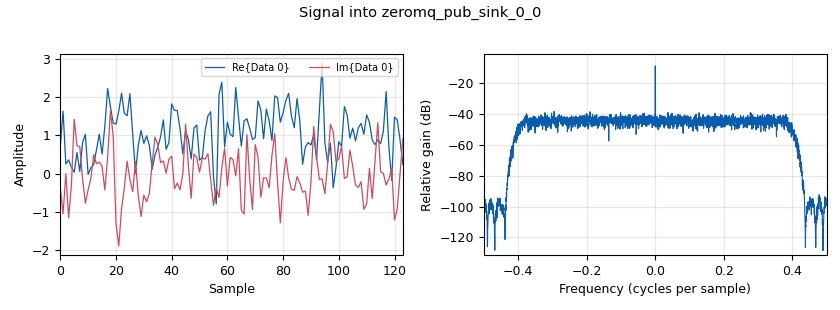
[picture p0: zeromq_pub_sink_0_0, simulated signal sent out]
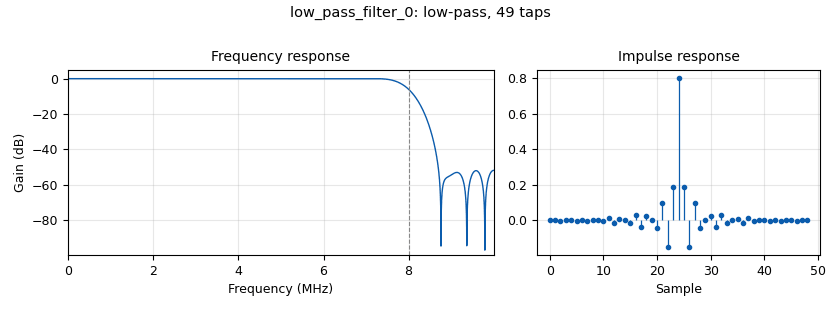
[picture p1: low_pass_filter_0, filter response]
options:
  parameters:
    author: muaddib
    description: radio head for passing I/Q to other flowgraphs
    generate_options: no_gui
    id: siggen_stillsuit
    output_language: python
    run_options: run
  states: {}

blocks:
- name: analog_noise_source_x_0
  id: analog_noise_source_x
  parameters:
    amp: '1'
    noise_type: analog.GR_GAUSSIAN
    seed: '0'
    type: complex
  states: {}
- name: analog_sig_source_x_0
  id: analog_sig_source_x
  parameters:
    amp: '1'
    freq: '1000'
    offset: '0'
    phase: '0'
    samp_rate: samp_rate
    type: complex
    waveform: analog.GR_COS_WAVE
  states: {}
- name: blocks_add_xx_0
  id: blocks_add_xx
  parameters:
    type: complex
  states: {}
- name: blocks_multiply_const_xx_0
  id: blocks_multiply_const_xx
  parameters:
    const: rf_gain
    type: complex
  states: {}
- name: blocks_throttle_0
  id: blocks_throttle
  parameters:
    samples_per_second: samp_rate
    type: complex
  states: {}
- name: control_ip
  id: parameter
  parameters:
    label: XMLRPC SERVER IP
    short_id: x
    type: str
    value: 127.0.0.1
  states: {}
- name: control_port
  id: parameter
  parameters:
    label: XMLRPC SERVER PORT
    short_id: X
    type: intx
    value: '8000'
  states: {}
- name: low_pass_filter_0
  id: low_pass_filter
  parameters:
    cutoff_freq: (rf_bw/2)*.8
    decim: '1'
    gain: '1'
    samp_rate: samp_rate
    type: fir_filter_ccf
    width: 1e6
    win: window.WIN_HAMMING
  states: {}
- name: rf_bw
  id: parameter
  parameters:
    label: RF BANDWITDH
    short_id: b
    type: eng_float
    value: 20e6
  states: {}
- name: rf_freq
  id: parameter
  parameters:
    label: RF FREQUENCY
    short_id: f
    type: eng_float
    value: 750e6
  states: {}
- name: rf_gain
  id: parameter
  parameters:
    label: RF GAIN
    short_id: g
    type: eng_float
    value: '1'
  states: {}
- name: samp_rate
  id: parameter
  parameters:
    label: SAMPLE RATE
    short_id: s
    type: eng_float
    value: 20e6
  states: {}
- name: xmlrpc_serv_ip
  id: xmlrpc_server
  parameters:
    addr: 127.0.0.1
    port: control_port
  states: {}
- name: zeromq_pub_sink_0_0
  id: zeromq_pub_sink
  parameters:
    address: '"tcp://"+str(zmq_out_ip)+":"+str(zmq_out_port)'
    pass_tags: 'True'
    timeout: '100'
    type: complex
  states: {}
- name: zmq_out_ip
  id: parameter
  parameters:
    label: ZMQ OUT IP ADDR
    short_id: o
    type: str
    value: 127.0.0.1
  states: {}
- name: zmq_out_port
  id: parameter
  parameters:
    label: ZMQ OUT IP PORT
    short_id: O
    type: str
    value: '5000'
  states: {}

connections:
- [analog_noise_source_x_0, '0', low_pass_filter_0, '0']
- [analog_sig_source_x_0, '0', blocks_add_xx_0, '1']
- [blocks_add_xx_0, '0', blocks_multiply_const_xx_0, '0']
- [blocks_multiply_const_xx_0, '0', blocks_throttle_0, '0']
- [blocks_throttle_0, '0', zeromq_pub_sink_0_0, '0']
- [low_pass_filter_0, '0', blocks_add_xx_0, '0']

metadata:
  file_format: 1
  grc_version: 3.10.3.0
